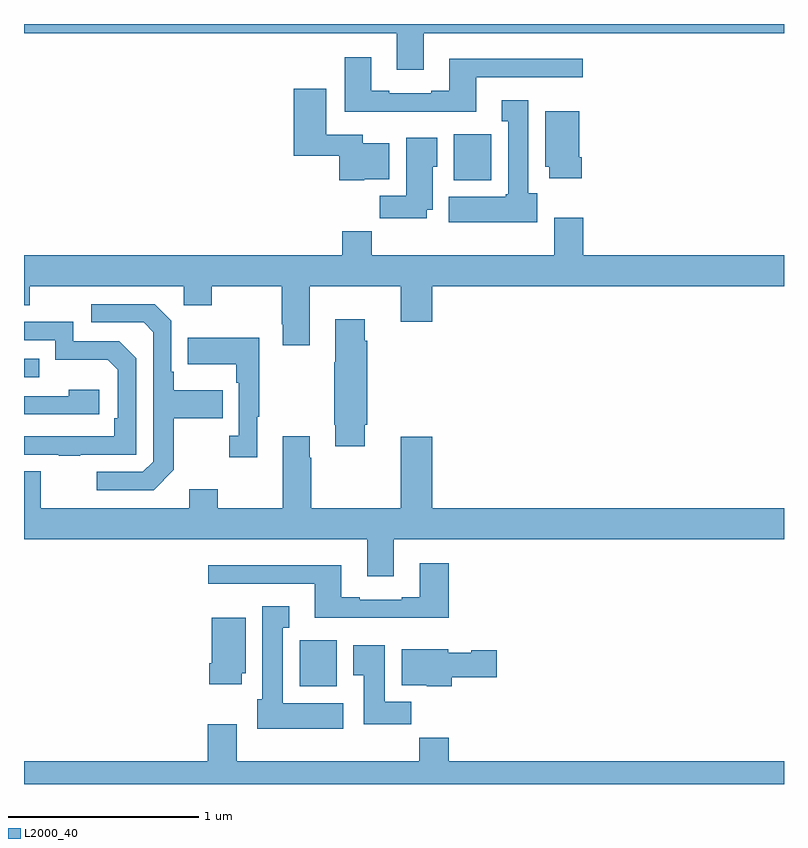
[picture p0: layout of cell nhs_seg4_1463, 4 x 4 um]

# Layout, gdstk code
import gdstk
lib = gdstk.Library(unit=1e-6, precision=1e-09)
def R(c, l, rs):  # rectangles x0, y0, x1, y1
    for r in rs: c.add(gdstk.rectangle(r[:2], r[2:], *l))
def P(c, l, *ps):  # polygons
    for p in ps: c.add(gdstk.Polygon(p, *l))
L2000_40 = (2000, 40)

nhs_seg4_1463 = lib.new_cell('nhs_seg4_1463')
R(nhs_seg4_1463, L2000_40, [(188.45,761.414,188.647,761.656), (187,763.041,187.079,763.137), (189.263,764.078,189.46,764.32)])
P(nhs_seg4_1463, L2000_40, [(191,764.9),(187,764.9),(187,764.852),(188.963,764.852),(188.963,764.658),(189.103,764.658),(189.103,764.852),(191,764.852)],
  [(189.379,764.619),(189.94,764.619),(189.94,764.716),(189.239,764.716),(189.239,764.548),(189.143,764.548),(189.143,764.535),(188.923,764.535),(188.923,764.548),(188.827,764.548),(188.827,764.725),(188.687,764.725),(188.687,764.438),(189.379,764.438)],
  [(188.79,764.084),(188.923,764.084),(188.923,764.272),(188.782,764.272),(188.782,764.317),(188.59,764.317),(188.59,764.56),(188.42,764.56),(188.42,764.207),(188.66,764.207),(188.66,764.078),(188.79,764.078)],
  [(189.7,764.01),(189.655,764.01),(189.655,764.5),(189.515,764.5),(189.515,764.387),(189.548,764.387),(189.548,764.004),(189.535,764.004),(189.535,763.99),(189.236,763.99),(189.236,763.856),(189.7,763.856)],
  [(189.935,764.2),(189.922,764.2),(189.922,764.44),(189.743,764.44),(189.743,764.148),(189.764,764.148),(189.764,764.088),(189.935,764.088)],
  [(189.121,763.922),(189.151,763.922),(189.151,764.148),(189.175,764.148),(189.175,764.302),(189.011,764.302),(189.011,763.996),(188.872,763.996),(188.872,763.878),(189.121,763.878)],
  [(188.503,763.52),(188.984,763.52),(188.984,763.332),(189.148,763.332),(189.148,763.52),(191,763.52),(191,763.684),(189.944,763.684),(189.944,763.879),(189.791,763.879),(189.791,763.684),(188.831,763.684),(188.831,763.808),(188.675,763.808),(188.675,763.684),(187,763.684),(187,763.421),(187.029,763.421),(187.029,763.52),(187.842,763.52),(187.842,763.421),(187.989,763.421),(187.989,763.52),(188.356,763.52),(188.356,763.321),(188.363,763.321),(188.363,763.209),(188.503,763.209)],
  [(187.789,762.553),(187.789,762.826),(188.045,762.826),(188.045,762.973),(187.789,762.973),(187.789,763.069),(187.776,763.069),(187.776,763.338),(187.689,763.425),(187.353,763.425),(187.353,763.329),(187.629,763.329),(187.68,763.278),(187.68,762.597),(187.626,762.543),(187.383,762.543),(187.383,762.447),(187.683,762.447)],
  [(188.794,762.79),(188.807,762.79),(188.807,763.232),(188.794,763.232),(188.794,763.345),(188.639,763.345),(188.639,763.121),(188.632,763.121),(188.632,762.79),(188.639,762.79),(188.639,762.678),(188.794,762.678)],
  [(187.295,762.633),(187.59,762.633),(187.59,763.14),(187.5,763.23),(187.26,763.23),(187.26,763.332),(187,763.332),(187,763.236),(187.164,763.236),(187.164,763.133),(187.441,763.133),(187.494,763.08),(187.494,762.826),(187.474,762.826),(187.474,762.729),(187,762.729),(187,762.633),(187.183,762.633),(187.183,762.628),(187.295,762.628)],
  [(188.227,762.833),(188.239,762.833),(188.239,763.249),(187.861,763.249),(187.861,763.109),(188.118,763.109),(188.118,763.013),(188.13,763.013),(188.13,762.734),(188.079,762.734),(188.079,762.621),(188.227,762.621)],
  [(187.396,762.976),(187.235,762.976),(187.235,762.942),(187,762.942),(187,762.846),(187.396,762.846)],
  [(188.947,762.188),(191,762.188),(191,762.352),(189.148,762.352),(189.148,762.727),(188.984,762.727),(188.984,762.352),(188.511,762.352),(188.511,762.617),(188.503,762.617),(188.503,762.73),(188.363,762.73),(188.363,762.352),(188.019,762.352),(188.019,762.451),(187.871,762.451),(187.871,762.352),(187.087,762.352),(187.087,762.547),(187,762.547),(187,762.188),(188.807,762.188),(188.807,761.994),(188.947,761.994)],
  [(189.236,762.061),(189.083,762.061),(189.083,761.884),(188.987,761.884),(188.987,761.871),(188.767,761.871),(188.767,761.884),(188.671,761.884),(188.671,762.052),(187.971,762.052),(187.971,761.955),(188.531,761.955),(188.531,761.774),(189.236,761.774)],
  [(188.68,761.326),(188.362,761.326),(188.362,761.723),(188.395,761.723),(188.395,761.836),(188.255,761.836),(188.255,761.346),(188.228,761.346),(188.228,761.192),(188.68,761.192)],
  [(188.146,761.484),(188.167,761.484),(188.167,761.776),(187.988,761.776),(187.988,761.536),(187.976,761.536),(187.976,761.424),(188.146,761.424)],
  [(189.038,761.332),(188.899,761.332),(188.899,761.629),(188.732,761.629),(188.732,761.473),(188.789,761.473),(188.789,761.214),(189.038,761.214)],
  [(189.251,761.461),(189.487,761.461),(189.487,761.603),(189.354,761.603),(189.354,761.59),(189.234,761.59),(189.234,761.608),(188.987,761.608),(188.987,761.42),(189.12,761.42),(189.12,761.414),(189.251,761.414)],
  [(191,761.02),(189.236,761.02),(189.236,761.144),(189.079,761.144),(189.079,761.02),(188.119,761.02),(188.119,761.215),(187.967,761.215),(187.967,761.02),(187,761.02),(187,760.9),(191,760.9)])

lib.write_gds('nhs_seg4_1463.gds')
